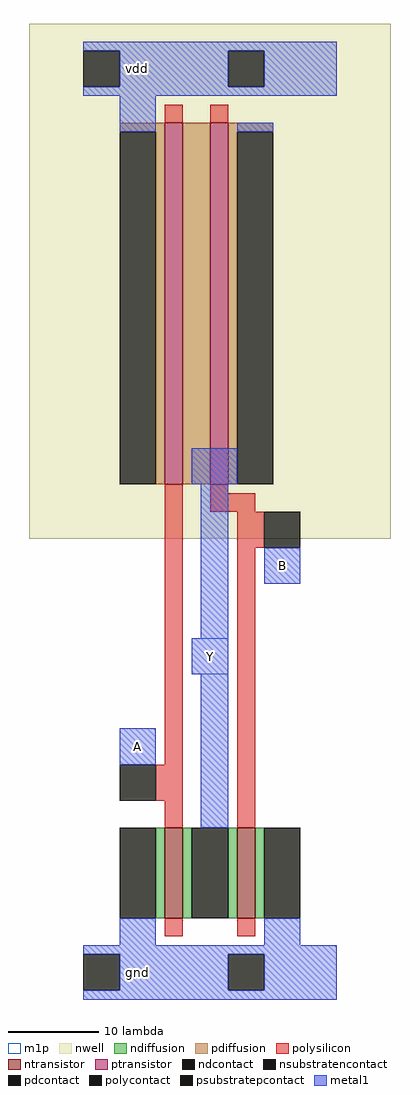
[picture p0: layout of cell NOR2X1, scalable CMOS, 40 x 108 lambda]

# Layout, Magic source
magic
tech scmos
<< nwell >>
rect -8 48 32 105
<< ntransistor >>
rect 7 6 9 16
rect 15 6 17 16
<< ptransistor >>
rect 7 54 9 94
rect 12 54 14 94
<< ndiffusion >>
rect 6 6 7 16
rect 9 6 10 16
rect 14 6 15 16
rect 17 6 18 16
<< pdiffusion >>
rect 2 93 7 94
rect 6 54 7 93
rect 9 54 12 94
rect 14 93 19 94
rect 14 54 15 93
<< ndcontact >>
rect 2 6 6 16
rect 10 6 14 16
rect 18 6 22 16
<< pdcontact >>
rect 2 54 6 93
rect 15 54 19 93
<< psubstratepcontact >>
rect -2 -2 2 2
rect 14 -2 18 2
<< nsubstratencontact >>
rect -2 98 2 102
rect 14 98 18 102
<< polysilicon >>
rect 7 94 9 96
rect 12 94 14 96
rect 7 23 9 54
rect 12 53 14 54
rect 12 51 17 53
rect 6 19 9 23
rect 7 16 9 19
rect 15 47 18 51
rect 15 16 17 47
rect 7 4 9 6
rect 15 4 17 6
<< polycontact >>
rect 2 19 6 23
rect 18 47 22 51
<< metal1 >>
rect -2 102 26 103
rect 2 98 14 102
rect 18 98 26 102
rect -2 97 26 98
rect 2 93 6 97
rect 15 93 19 94
rect 10 54 15 58
rect 11 37 14 54
rect 18 43 22 47
rect 10 33 14 37
rect 2 23 6 27
rect 11 16 14 33
rect 2 3 6 6
rect 18 3 22 6
rect -2 2 26 3
rect 2 -2 14 2
rect 18 -2 26 2
rect -2 -3 26 -2
<< m1p >>
rect 18 43 22 47
rect 10 33 14 37
rect 2 23 6 27
<< labels >>
rlabel metal1 4 100 4 100 6 vdd
rlabel m1p 20 45 20 45 6 B
rlabel metal1 4 0 4 0 8 gnd
rlabel m1p 12 35 12 35 6 Y
rlabel m1p 4 25 4 25 6 A
<< end >>
